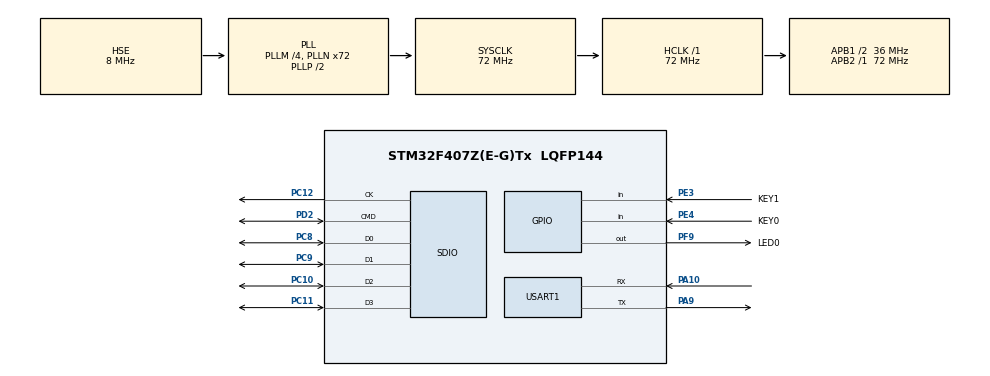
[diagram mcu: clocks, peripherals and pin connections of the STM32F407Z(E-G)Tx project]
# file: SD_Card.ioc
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Mcu.Family=STM32F4
Mcu.Name=STM32F407Z(E-G)Tx
Mcu.Package=LQFP144
NVIC.PriorityGroup=NVIC_PRIORITYGROUP_4
PA10.Mode=Asynchronous
PA10.Signal=USART1_RX
PA9.Mode=Asynchronous
PA9.Signal=USART1_TX
PC10.Mode=SD_4_bits_Wide_bus
PC10.Signal=SDIO_D2
PC11.Mode=SD_4_bits_Wide_bus
PC11.Signal=SDIO_D3
PC12.Mode=SD_4_bits_Wide_bus
PC12.Signal=SDIO_CK
PC14-OSC32_IN.Mode=LSE-External-Oscillator
PC14-OSC32_IN.Signal=RCC_OSC32_IN
PC15-OSC32_OUT.Mode=LSE-External-Oscillator
PC15-OSC32_OUT.Signal=RCC_OSC32_OUT
PC8.Mode=SD_4_bits_Wide_bus
PC8.Signal=SDIO_D0
PC9.Mode=SD_4_bits_Wide_bus
PC9.Signal=SDIO_D1
PD2.Mode=SD_4_bits_Wide_bus
PD2.Signal=SDIO_CMD
PE3.GPIO_Label=KEY1
PE3.GPIO_PuPd=GPIO_PULLUP
PE3.Signal=GPIO_Input
PE4.GPIO_Label=KEY0
PE4.GPIO_PuPd=GPIO_PULLUP
PE4.Signal=GPIO_Input
PF9.GPIO_Label=LED0
PF9.Signal=GPIO_Output
PH0-OSC_IN.Mode=HSE-External-Oscillator
PH0-OSC_IN.Signal=RCC_OSC_IN
PH1-OSC_OUT.Mode=HSE-External-Oscillator
PH1-OSC_OUT.Signal=RCC_OSC_OUT
ProjectManager.HeapSize=0x200
ProjectManager.StackSize=0x400
ProjectManager.TargetToolchain=MDK-ARM V5
RCC.48MHZClocksFreq_Value=48000000
RCC.AHBFreq_Value=72000000
RCC.APB1CLKDivider=RCC_HCLK_DIV2
RCC.APB1Freq_Value=36000000
RCC.APB1TimFreq_Value=72000000
RCC.APB2Freq_Value=72000000
RCC.APB2TimFreq_Value=72000000
RCC.CortexFreq_Value=72000000
RCC.HCLKFreq_Value=72000000
RCC.HSE_VALUE=8000000
RCC.HSI_VALUE=16000000
RCC.PLLM=4
RCC.PLLN=72
RCC.PLLQ=3
RCC.PLLSourceVirtual=RCC_PLLSOURCE_HSE
RCC.SYSCLKFreq_VALUE=72000000
RCC.SYSCLKSource=RCC_SYSCLKSOURCE_PLLCLK
RCC.VCOOutputFreq_Value=144000000
SDIO.ClockDiv=0
USART1.VirtualMode=VM_ASYNC
board=custom

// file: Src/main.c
/* USER CODE BEGIN Header */
/**
  ******************************************************************************
  * @file           : main.c
  * @brief          : Main program body
  ******************************************************************************
  * @attention
  *
  * <h2><center>&copy; Copyright (c) 2020 STMicroelectronics.
  * All rights reserved.</center></h2>
  *
  * This software component is licensed by ST under BSD 3-Clause license,
  * the "License"; You may not use this file except in compliance with the
  * License. You may obtain a copy of the License at:
  *                        opensource.org/licenses/BSD-3-Clause
  *
  ******************************************************************************
  */
/* USER CODE END Header */

#include "main.h"
#include "sdio.h"
#include "usart.h"
#include "gpio.h"

/* USER CODE BEGIN Includes */
#include "key.h"
#include "malloc.h"
#include "sdio_sdcard.h"
/* USER CODE END Includes */

void SystemClock_Config(void);

int main(void)
{
  /* USER CODE BEGIN 1 */
  u8 key=0;
	u16 i=0;
	u32 sd_size;
	u8 t=0;
	u8 *buf;
	uint64_t CardCap;				//SD卡容量
  /* USER CODE END 1 */

  /* MCU Configuration--------------------------------------------------------*/

  /* Reset of all peripherals, Initializes the Flash interface and the Systick. */
  HAL_Init();

  /* Configure the system clock */
  SystemClock_Config();

  /* Initialize all configured peripherals */
  MX_GPIO_Init();
  MX_SDIO_SD_Init();
  MX_USART1_UART_Init();
  /* USER CODE BEGIN 2 */
  SD_Init();
  /* USER CODE END 2 */

  /* Infinite loop */
  while (1)
  {

    /* USER CODE BEGIN 3 */
		key=KEY_Scan(0);
		if(key==KEY0_PRES)//KEY0按下了
		{
			buf=mymalloc(0,512);		//申请内存
			if(SD_ReadDisk(buf,0,1)==0)	//读取0扇区的内容
			{
				printf("SECTOR 0 DATA:\r\n");
				for(sd_size=0;sd_size<512;sd_size++)printf("%x ",buf[sd_size]);//打印0扇区数据
				printf("\r\nDATA ENDED\r\n");

			}
			myfree(0,buf);//释放内存
		}
		i++;
		HAL_Delay(10);
		if(i==20)
		{
			HAL_GPIO_TogglePin(LED0_GPIO_Port,LED0_Pin);//提示系统正在运行
			i=0;
		}
  }
  /* USER CODE END 3 */
}

void SystemClock_Config(void)
{
  RCC_OscInitTypeDef RCC_OscInitStruct = {0};
  RCC_ClkInitTypeDef RCC_ClkInitStruct = {0};

  /** Configure the main internal regulator output voltage
  */
  __HAL_RCC_PWR_CLK_ENABLE();
  __HAL_PWR_VOLTAGESCALING_CONFIG(PWR_REGULATOR_VOLTAGE_SCALE1);
  /** Initializes the CPU, AHB and APB busses clocks
  */
  RCC_OscInitStruct.OscillatorType = RCC_OSCILLATORTYPE_HSE;
  RCC_OscInitStruct.HSEState = RCC_HSE_ON;
  RCC_OscInitStruct.PLL.PLLState = RCC_PLL_ON;
  RCC_OscInitStruct.PLL.PLLSource = RCC_PLLSOURCE_HSE;
  RCC_OscInitStruct.PLL.PLLM = 4;
  RCC_OscInitStruct.PLL.PLLN = 72;
  RCC_OscInitStruct.PLL.PLLP = RCC_PLLP_DIV2;
  RCC_OscInitStruct.PLL.PLLQ = 3;
  if (HAL_RCC_OscConfig(&RCC_OscInitStruct) != HAL_OK)
  {
    Error_Handler();
  }
  /** Initializes the CPU, AHB and APB busses clocks
  */
  RCC_ClkInitStruct.ClockType = RCC_CLOCKTYPE_HCLK|RCC_CLOCKTYPE_SYSCLK
                              |RCC_CLOCKTYPE_PCLK1|RCC_CLOCKTYPE_PCLK2;
  RCC_ClkInitStruct.SYSCLKSource = RCC_SYSCLKSOURCE_PLLCLK;
  RCC_ClkInitStruct.AHBCLKDivider = RCC_SYSCLK_DIV1;
  RCC_ClkInitStruct.APB1CLKDivider = RCC_HCLK_DIV2;
  RCC_ClkInitStruct.APB2CLKDivider = RCC_HCLK_DIV1;

  if (HAL_RCC_ClockConfig(&RCC_ClkInitStruct, FLASH_LATENCY_2) != HAL_OK)
  {
    Error_Handler();
  }
}

void Error_Handler(void)
{
}

/************************ (C) COPYRIGHT STMicroelectronics *****END OF FILE****/
